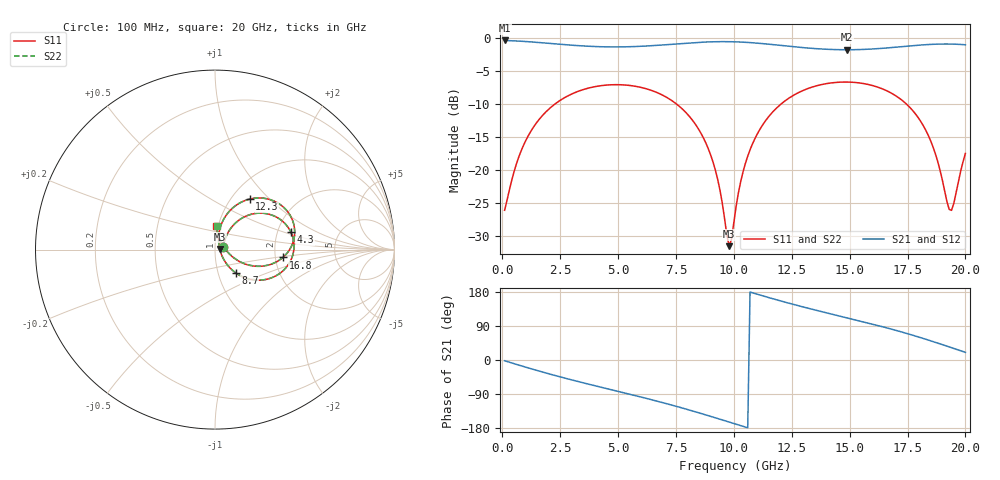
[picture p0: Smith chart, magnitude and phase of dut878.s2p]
! Touchstone file exported from HFSS 2026.1.0
!  File:  C:/ffzhzh/LocalFiles/Ansys_Project_Files/temp_train_TSV_RDL_878_1783273248_38704.aedt
!  Generated:  01:54:23 AM Jul  6, 2026
!  Design:  TSV_RDL
!  Project:  temp_train_TSV_RDL_878_1783273248_38704
! Variables:
!  h_bsmrdl = 5.4um
!  h_ox = 20um
!  h_rdl = 5um
!  h_sub = 65.34um
!  h_tmrdl = 2.28um
!  h_tsv = 65.34um
!  h_via = 3um
!  l_bsmrdl = 656.46um
!  l_sub = 5444.72um
!  l_tmrdl = 739.75um
!  m_sub = 200um
!  pitch = 35.58um
!  r_tsv = 4.72um
!  s_tmrdl = 10um
!  w_bsmrdl = 27.4um
!  w_sub = 500um
!  w_tmrdl = 11.38um
!  x_tsv_center1 = 745.44um
!  x_tsv_center2 = 1429.3um
!  x_tsv_center3 = 2180.43um
!  x_tsv_center4 = 2864.29um
!  x_tsv_center5 = 3615.42um
!  x_tsv_center6 = 4299.28um
# GHz S MA R 50.000000
! Terminal data exported
! Port[1] = TM_RDL1_1_T1
! Port[2] = TM_RDL5_1_T1
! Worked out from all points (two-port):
!   200 points, 100 MHz to 20 GHz, reference 50 ohm
!   highest |S21| = -0.41 dB at 100 MHz (marker M1); lowest = -1.8 dB at 14.9 GHz (marker M2)
!   |S21| within 3 dB of the highest: start of sweep to end of sweep
!   lowest |S11| = -31.6 dB at 9.8 GHz (marker M3), VSWR 1.05, Z = 52.7 + j0.444 ohm
!   |S11| at or under -10 dB: start of sweep to 2.29 GHz; 7.509 GHz to 12.05 GHz (4.545 GHz wide, 46.5 % of centre); 17.44 GHz to end of sweep
!   |S22| runs from -31.5 to -6.7 dB; largest |S21 - S12| = 2.9e-14
!   S11 on the Smith chart (normalised r, x): 100 MHz: 1.10, +0.04; 4.3 GHz: 2.38, +0.56; 8.7 GHz: 1.21, -0.32; 12.3 GHz: 1.21, +0.77; 16.8 GHz: 2.20, -0.23; 20 GHz: 0.98, +0.26
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0.1  0.0493 19.0  0.9538 -2.0  0.9538 -2.0  0.0493 19.0
! Gamma 0 0 0 0
! Port Impedance 50 0 50 0
0.7  0.1232 52.9  0.9436 -13.2  0.9436 -13.2  0.1232 52.9
1.3  0.2042 51.4  0.9285 -24.1  0.9285 -24.1  0.2042 51.4
3.5  0.405 23.6  0.8663 -60.3  0.8663 -60.3  0.405 23.6
4.3  0.4342 12.8  0.8544 -72.4  0.8544 -72.4  0.4341 12.8
6.8  0.3763 -21.9  0.8786 -110.4  0.8786 -110.4  0.3763 -21.9
8.7  0.1722 -48.4  0.9266 -143.2  0.9266 -143.2  0.1722 -48.3
9.3  0.08486 -49.9  0.9337 -154.4  0.9337 -154.4  0.08487 -49.7
9.8  0.02635 9.2  0.9336 -163.8  0.9336 -163.8  0.02648 9.3
10.1  0.053 67.8  0.9307 -169.5  0.9307 -169.5  0.05308 67.8
10.4  0.09683 76.4  0.9258 -175.1  0.9258 -175.1  0.09688 76.4
10.9  0.1706 74.4  0.9135 175.6  0.9135 175.6  0.1707 74.4
12.3  0.3413 55.5  0.8649 151.2  0.8649 151.2  0.3413 55.6
13.4  0.4238 39.9  0.8303 133.7  0.8303 133.7  0.4238 39.9
14.9  0.4616 19.4  0.811 111.2  0.811 111.2  0.4616 19.5
16.7  0.3891 -5.2  0.8392 83.3  0.8392 83.3  0.3891 -5.1
16.8  0.3808 -6.6  0.8421 81.6  0.8421 81.6  0.3808 -6.5
18.3  0.1975 -25.2  0.8863 54.6  0.8863 54.6  0.1976 -24.8
18.8  0.1162 -24.0  0.8949 44.7  0.8949 44.7  0.1166 -23.4
19.3  0.05006 18.0  0.8964 34.6  0.8964 34.6  0.05125 18.5
19.5  0.05558 56.6  0.8947 30.5  0.8947 30.5  0.05676 56.2
20  0.1328 86.5  0.8843 20.2  0.8843 20.2  0.1334 86.0
